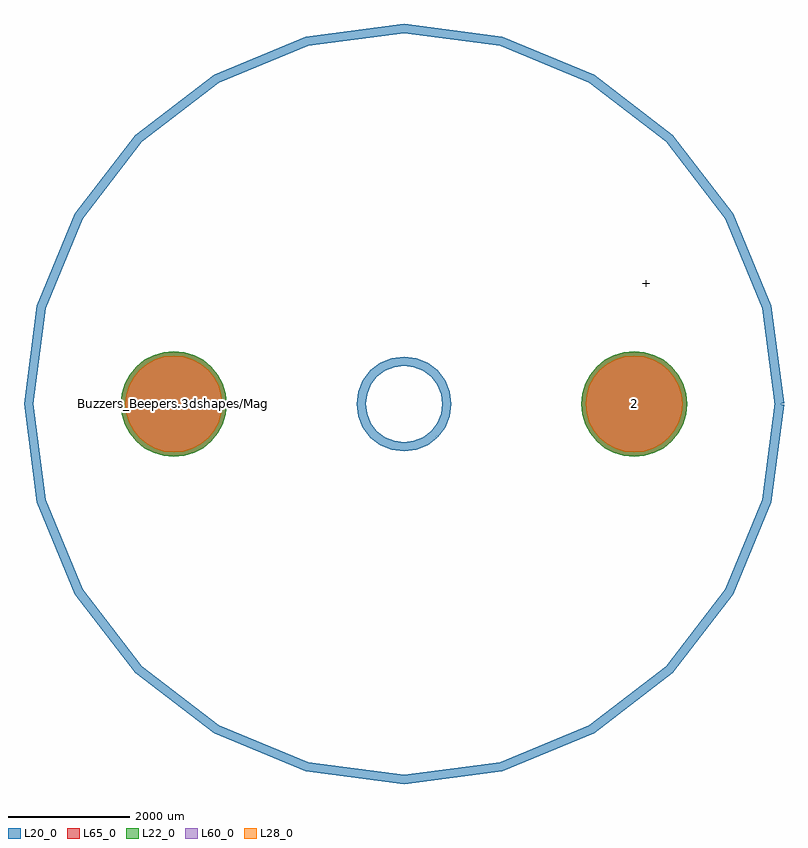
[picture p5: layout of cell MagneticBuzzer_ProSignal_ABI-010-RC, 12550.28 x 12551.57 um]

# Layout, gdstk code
import gdstk
lib = gdstk.Library(unit=1e-6, precision=1e-09)
def P(c, l, *ps):  # polygons
    for p in ps: c.add(gdstk.Polygon(p, *l))
L20_0 = (20, 0)
L22_0 = (22, 0)
L28_0 = (28, 0)
L60_0 = (60, 0)
L65_0 = (65, 0)

magneticbuzzer_prosignal = lib.new_cell('MagneticBuzzer_ProSignal_ABI-010-RC')
P(magneticbuzzer_prosignal, L22_0, [(8484.94,0),(8468.125,170.724),(8418.327,334.886),(8337.459,486.18),(8228.629,618.789),(8096.02,727.619),(7944.726,808.487),(7780.564,858.285),(7609.84,875.1),(7439.116,858.285),(7274.954,808.487),(7123.66,727.619),(6991.051,618.789),(6882.221,486.18),(6801.353,334.886),(6751.555,170.724),(6734.74,0),(6751.555,-170.724),(6801.353,-334.886),(6882.221,-486.18),(6991.051,-618.789),(7123.66,-727.619),(7274.954,-808.487),(7439.116,-858.285),(7609.84,-875.1),(7780.564,-858.285),(7944.726,-808.487),(8096.02,-727.619),(8228.629,-618.789),(8337.459,-486.18),(8418.327,-334.886),(8468.125,-170.724)],
  [(885.26,0),(868.445,170.724),(818.647,334.886),(737.779,486.18),(628.949,618.789),(496.34,727.619),(345.046,808.487),(180.884,858.285),(10.16,875.1),(-160.564,858.285),(-324.726,808.487),(-476.02,727.619),(-608.629,618.789),(-717.459,486.18),(-798.327,334.886),(-848.125,170.724),(-864.94,0),(-848.125,-170.724),(-798.327,-334.886),(-717.459,-486.18),(-608.629,-618.789),(-476.02,-727.619),(-324.726,-808.487),(-160.564,-858.285),(10.16,-875.1),(180.884,-858.285),(345.046,-808.487),(496.34,-727.619),(628.949,-618.789),(737.779,-486.18),(818.647,-334.886),(868.445,-170.724)])
P(magneticbuzzer_prosignal, L28_0, [(8409.94,0),(8394.566,156.092),(8349.036,306.185),(8275.099,444.512),(8175.596,565.756),(8054.352,665.259),(7916.025,739.196),(7765.932,784.726),(7609.84,800.1),(7453.748,784.726),(7303.655,739.196),(7165.328,665.259),(7044.084,565.756),(6944.581,444.512),(6870.644,306.185),(6825.114,156.092),(6809.74,0),(6825.114,-156.092),(6870.644,-306.185),(6944.581,-444.512),(7044.084,-565.756),(7165.328,-665.259),(7303.655,-739.196),(7453.748,-784.726),(7609.84,-800.1),(7765.932,-784.726),(7916.025,-739.196),(8054.352,-665.259),(8175.596,-565.756),(8275.099,-444.512),(8349.036,-306.185),(8394.566,-156.092)],
  [(810.26,0),(794.886,156.092),(749.356,306.185),(675.419,444.512),(575.916,565.756),(454.672,665.259),(316.345,739.196),(166.252,784.726),(10.16,800.1),(-145.932,784.726),(-296.025,739.196),(-434.352,665.259),(-555.596,565.756),(-655.099,444.512),(-729.036,306.185),(-774.566,156.092),(-789.94,0),(-774.566,-156.092),(-729.036,-306.185),(-655.099,-444.512),(-555.596,-565.756),(-434.352,-665.259),(-296.025,-739.196),(-145.932,-784.726),(10.16,-800.1),(166.252,-784.726),(316.345,-739.196),(454.672,-665.259),(575.916,-565.756),(675.419,-444.512),(749.356,-306.185),(794.886,-156.092)])
P(magneticbuzzer_prosignal, L60_0, [(8409.94,0),(8394.566,156.092),(8349.036,306.185),(8275.099,444.512),(8175.596,565.756),(8054.352,665.259),(7916.025,739.196),(7765.932,784.726),(7609.84,800.1),(7453.748,784.726),(7303.655,739.196),(7165.328,665.259),(7044.084,565.756),(6944.581,444.512),(6870.644,306.185),(6825.114,156.092),(6809.74,0),(6825.114,-156.092),(6870.644,-306.185),(6944.581,-444.512),(7044.084,-565.756),(7165.328,-665.259),(7303.655,-739.196),(7453.748,-784.726),(7609.84,-800.1),(7765.932,-784.726),(7916.025,-739.196),(8054.352,-665.259),(8175.596,-565.756),(8275.099,-444.512),(8349.036,-306.185),(8394.566,-156.092)],
  [(810.26,0),(794.886,156.092),(749.356,306.185),(675.419,444.512),(575.916,565.756),(454.672,665.259),(316.345,739.196),(166.252,784.726),(10.16,800.1),(-145.932,784.726),(-296.025,739.196),(-434.352,665.259),(-555.596,565.756),(-655.099,444.512),(-729.036,306.185),(-774.566,156.092),(-789.94,0),(-774.566,-156.092),(-729.036,-306.185),(-655.099,-444.512),(-555.596,-565.756),(-434.352,-665.259),(-296.025,-739.196),(-145.932,-784.726),(10.16,-800.1),(166.252,-784.726),(316.345,-739.196),(454.672,-665.259),(575.916,-565.756),(675.419,-444.512),(749.356,-306.185),(794.886,-156.092)])
P(magneticbuzzer_prosignal, L65_0, [(8484.94,0),(8468.125,170.724),(8418.327,334.886),(8337.459,486.18),(8228.629,618.789),(8096.02,727.619),(7944.726,808.487),(7780.564,858.285),(7609.84,875.1),(7439.116,858.285),(7274.954,808.487),(7123.66,727.619),(6991.051,618.789),(6882.221,486.18),(6801.353,334.886),(6751.555,170.724),(6734.74,0),(6751.555,-170.724),(6801.353,-334.886),(6882.221,-486.18),(6991.051,-618.789),(7123.66,-727.619),(7274.954,-808.487),(7439.116,-858.285),(7609.84,-875.1),(7780.564,-858.285),(7944.726,-808.487),(8096.02,-727.619),(8228.629,-618.789),(8337.459,-486.18),(8418.327,-334.886),(8468.125,-170.724)],
  [(885.26,0),(868.445,170.724),(818.647,334.886),(737.779,486.18),(628.949,618.789),(496.34,727.619),(345.046,808.487),(180.884,858.285),(10.16,875.1),(-160.564,858.285),(-324.726,808.487),(-476.02,727.619),(-608.629,618.789),(-717.459,486.18),(-798.327,334.886),(-848.125,170.724),(-864.94,0),(-848.125,-170.724),(-798.327,-334.886),(-717.459,-486.18),(-608.629,-618.789),(-476.02,-727.619),(-324.726,-808.487),(-160.564,-858.285),(10.16,-875.1),(180.884,-858.285),(345.046,-808.487),(496.34,-727.619),(628.949,-618.789),(737.779,-486.18),(818.647,-334.886),(868.445,-170.724)])
magneticbuzzer_prosignal.add(gdstk.FlexPath([(10010.14,0),(9798.875,1604.714),(9179.479,3100.07),(8194.161,4384.161),(6910.07,5369.479),(5414.714,5988.875),(3810,6200.14),(2205.286,5988.875),(709.93,5369.479),(-574.161,4384.161),(-1559.479,3100.07),(-2178.875,1604.714),(-2390.14,0),(-2178.875,-1604.714),(-1559.479,-3100.07),(-574.161,-4384.161),(709.93,-5369.479),(2205.286,-5988.875),(3810,-6200.14),(5414.714,-5988.875),(6910.07,-5369.479),(8194.161,-4384.161),(9179.479,-3100.07),(9798.875,-1604.714),(10010.14,0)], 149.998, ends="flush", simple_path=True, layer=20, datatype=0))  # L20_0
magneticbuzzer_prosignal.add(gdstk.FlexPath([(4310.38,-500.38),(4422.838,-353.822),(4493.532,-183.152),(4517.644,0),(4493.532,183.152),(4422.838,353.822),(4310.38,500.38),(4163.822,612.838),(3993.152,683.532),(3810,707.644),(3626.848,683.532),(3456.178,612.838),(3309.62,500.38),(3197.162,353.822),(3126.468,183.152),(3102.356,0),(3126.468,-183.152),(3197.162,-353.822),(3309.62,-500.38),(3456.178,-612.838),(3626.848,-683.532),(3810,-707.644),(3993.152,-683.532),(4163.822,-612.838),(4310.38,-500.38)], 149.998, ends="flush", simple_path=True, layer=20, datatype=0))  # L20_0
magneticbuzzer_prosignal.add(gdstk.Label('Buzzers_Beepers.3dshapes/MagneticBuzzer_ProSignal_ABI-010-RC.wrl', (0,0), layer=12, texttype=0))
magneticbuzzer_prosignal.add(gdstk.Label('2', (7609.84,0), layer=28, texttype=0))
magneticbuzzer_prosignal.add(gdstk.Label('1', (10.16,0), layer=28, texttype=0))
magneticbuzzer_prosignal.add(gdstk.Label('+', (7810.5,1998.98), layer=9, texttype=0))
magneticbuzzer_prosignal.add(gdstk.Label('type', (2809.24,-8001), layer=9, texttype=0))
magneticbuzzer_prosignal.add(gdstk.Label('devicename', (3810,8001), layer=9, texttype=0))

lib.write_gds('MagneticBuzzer_ProSignal_ABI-010-RC.gds')
